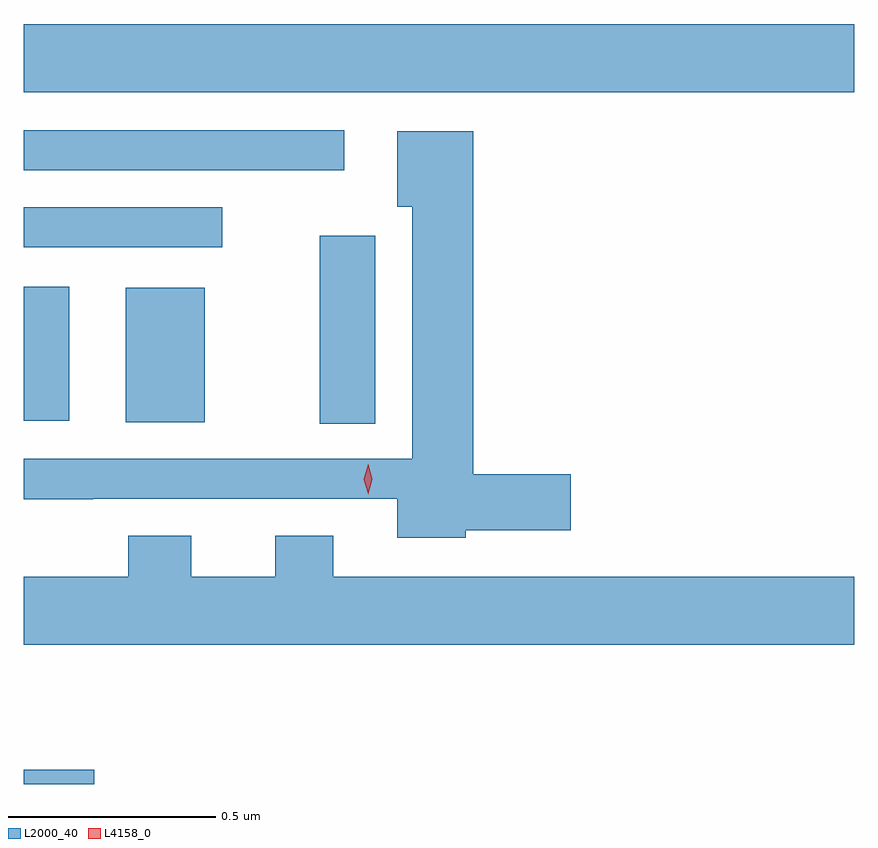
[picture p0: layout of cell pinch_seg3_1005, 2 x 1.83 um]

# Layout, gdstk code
import gdstk
lib = gdstk.Library(unit=1e-6, precision=1e-09)
def R(c, l, rs):  # rectangles x0, y0, x1, y1
    for r in rs: c.add(gdstk.rectangle(r[:2], r[2:], *l))
def P(c, l, *ps):  # polygons
    for p in ps: c.add(gdstk.Polygon(p, *l))
L2000_40 = (2000, 40)
L4158_0 = (4158, 0)

pinch_seg3_1005 = lib.new_cell('pinch_seg3_1005')
R(pinch_seg3_1005, L2000_40, [(501.855,719.229,502.024,719.263), (502.568,720.097,502.702,720.55), (502.1,720.101,502.291,720.424), (501.855,720.104,501.964,720.427), (501.855,720.522,502.333,720.618), (501.855,720.708,502.627,720.804), (501.855,720.896,503.855,721.06)])
P(pinch_seg3_1005, L2000_40, [(502.92,719.84),(503.173,719.84),(503.173,719.975),(502.937,719.975),(502.937,720.802),(502.754,720.802),(502.754,720.62),(502.79,720.62),(502.79,720.012),(501.855,720.012),(501.855,719.915),(502.022,719.915),(502.022,719.916),(502.754,719.916),(502.754,719.822),(502.92,719.822)],
  [(503.855,719.728),(502.6,719.728),(502.6,719.827),(502.46,719.827),(502.46,719.728),(502.258,719.728),(502.258,719.827),(502.106,719.827),(502.106,719.728),(501.855,719.728),(501.855,719.564),(503.855,719.564)])
P(pinch_seg3_1005, L4158_0, [(502.684,719.927),(502.684,719.928),(502.674,719.963),(502.684,719.999),(502.684,719.999),(502.684,719.999),(502.694,719.963),(502.684,719.928)])

lib.write_gds('pinch_seg3_1005.gds')
